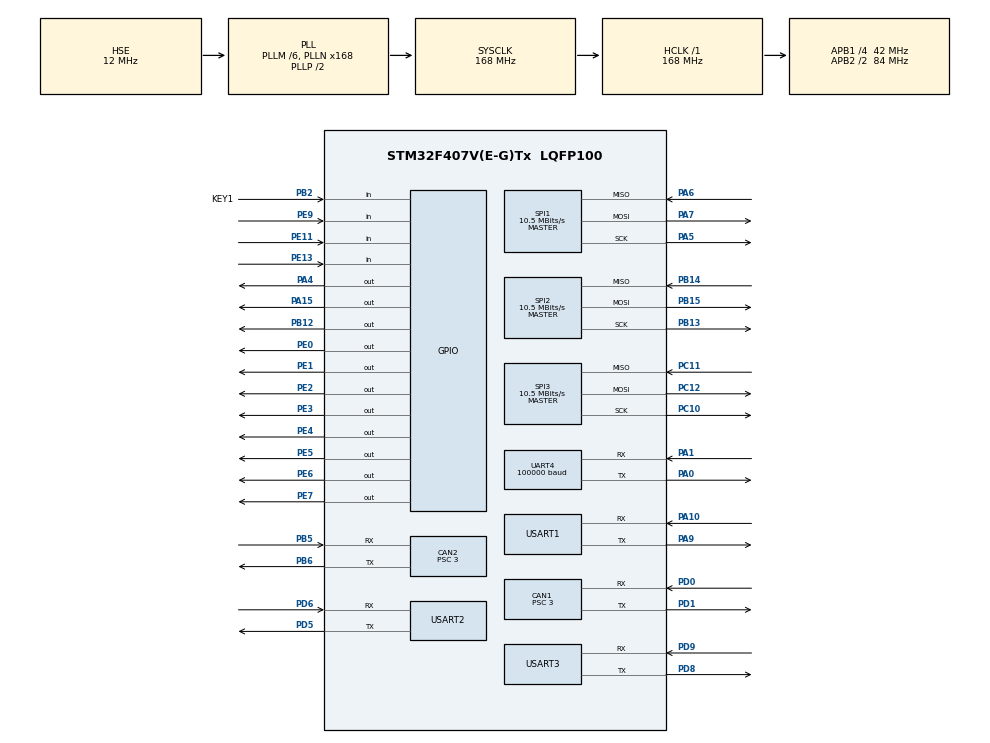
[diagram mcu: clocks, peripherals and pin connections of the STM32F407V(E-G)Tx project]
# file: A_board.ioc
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CAN1.BS1=CAN_BS1_9TQ
CAN1.BS2=CAN_BS2_4TQ
CAN1.CalculateBaudRate=1000000
CAN1.CalculateTimeBit=1000
CAN1.CalculateTimeQuantum=71.42857142857143
CAN1.Prescaler=3
CAN2.BS1=CAN_BS1_9TQ
CAN2.BS2=CAN_BS2_4TQ
CAN2.CalculateBaudRate=1000000
CAN2.CalculateTimeBit=1000
CAN2.CalculateTimeQuantum=71.42857142857143
CAN2.Prescaler=3
Dma.Request0=UART4_RX
Dma.Request1=USART1_RX
Dma.Request2=USART2_RX
Dma.Request3=USART3_TX
Dma.UART4_RX.0.Direction=DMA_PERIPH_TO_MEMORY
Dma.UART4_RX.0.FIFOMode=DMA_FIFOMODE_DISABLE
Dma.UART4_RX.0.Instance=DMA1_Stream2
Dma.UART4_RX.0.MemDataAlignment=DMA_MDATAALIGN_BYTE
Dma.UART4_RX.0.MemInc=DMA_MINC_ENABLE
Dma.UART4_RX.0.Mode=DMA_CIRCULAR
Dma.UART4_RX.0.PeriphDataAlignment=DMA_PDATAALIGN_BYTE
Dma.UART4_RX.0.PeriphInc=DMA_PINC_DISABLE
Dma.UART4_RX.0.Priority=DMA_PRIORITY_MEDIUM
Dma.USART1_RX.1.Direction=DMA_PERIPH_TO_MEMORY
Dma.USART1_RX.1.FIFOMode=DMA_FIFOMODE_DISABLE
Dma.USART1_RX.1.Instance=DMA2_Stream2
Dma.USART1_RX.1.MemDataAlignment=DMA_MDATAALIGN_BYTE
Dma.USART1_RX.1.MemInc=DMA_MINC_ENABLE
Dma.USART1_RX.1.Mode=DMA_CIRCULAR
Dma.USART1_RX.1.PeriphDataAlignment=DMA_PDATAALIGN_BYTE
Dma.USART1_RX.1.PeriphInc=DMA_PINC_DISABLE
Dma.USART1_RX.1.Priority=DMA_PRIORITY_MEDIUM
Dma.USART2_RX.2.Direction=DMA_PERIPH_TO_MEMORY
Dma.USART2_RX.2.FIFOMode=DMA_FIFOMODE_DISABLE
Dma.USART2_RX.2.Instance=DMA1_Stream5
Dma.USART2_RX.2.MemDataAlignment=DMA_MDATAALIGN_BYTE
Dma.USART2_RX.2.MemInc=DMA_MINC_ENABLE
Dma.USART2_RX.2.Mode=DMA_CIRCULAR
Dma.USART2_RX.2.PeriphDataAlignment=DMA_PDATAALIGN_BYTE
Dma.USART2_RX.2.PeriphInc=DMA_PINC_DISABLE
Dma.USART2_RX.2.Priority=DMA_PRIORITY_MEDIUM
Dma.USART3_TX.3.Direction=DMA_MEMORY_TO_PERIPH
Dma.USART3_TX.3.FIFOMode=DMA_FIFOMODE_DISABLE
Dma.USART3_TX.3.Instance=DMA1_Stream3
Dma.USART3_TX.3.MemDataAlignment=DMA_MDATAALIGN_BYTE
Dma.USART3_TX.3.MemInc=DMA_MINC_ENABLE
Dma.USART3_TX.3.Mode=DMA_NORMAL
Dma.USART3_TX.3.PeriphDataAlignment=DMA_PDATAALIGN_BYTE
Dma.USART3_TX.3.PeriphInc=DMA_PINC_DISABLE
Dma.USART3_TX.3.Priority=DMA_PRIORITY_MEDIUM
FREERTOS.INCLUDE_vTaskDelayUntil=1
FREERTOS.Tasks01=defaultTask,0,128,StartDefaultTask,Default,NULL,Dynamic,NULL,NULL
FREERTOS.configENABLE_FPU=1
FREERTOS.configTOTAL_HEAP_SIZE=20000
Mcu.Family=STM32F4
Mcu.Name=STM32F407V(E-G)Tx
Mcu.Package=LQFP100
NVIC.CAN1_RX0_IRQn=true\:5\:0\:false\:false\:true\:true\:true\:true\:true
NVIC.CAN2_RX1_IRQn=true\:5\:0\:false\:false\:true\:true\:true\:true\:true
NVIC.DMA1_Stream2_IRQn=true\:5\:0\:false\:false\:true\:true\:false\:true\:true
NVIC.DMA1_Stream3_IRQn=true\:5\:0\:false\:false\:true\:true\:false\:true\:true
NVIC.DMA1_Stream5_IRQn=true\:5\:0\:false\:false\:true\:true\:false\:true\:true
NVIC.DMA2_Stream2_IRQn=true\:5\:0\:false\:false\:true\:true\:false\:true\:true
NVIC.PriorityGroup=NVIC_PRIORITYGROUP_4
NVIC.TIM8_TRG_COM_TIM14_IRQn=true\:15\:0\:false\:false\:true\:false\:false\:true\:true
NVIC.TimeBase=TIM8_TRG_COM_TIM14_IRQn
NVIC.TimeBaseIP=TIM14
NVIC.USART2_IRQn=true\:5\:0\:false\:false\:true\:true\:true\:true\:true
PA0-WKUP.Mode=Asynchronous
PA0-WKUP.Signal=UART4_TX
PA1.Mode=Asynchronous
PA1.Signal=UART4_RX
PA10.Mode=Asynchronous
PA10.Signal=USART1_RX
PA13.Mode=Serial_Wire
PA13.Signal=SYS_JTMS-SWDIO
PA14.Mode=Serial_Wire
PA14.Signal=SYS_JTCK-SWCLK
PA15.Signal=GPIO_Output
PA4.Signal=GPIO_Output
PA5.Mode=Full_Duplex_Master
PA5.Signal=SPI1_SCK
PA6.Mode=Full_Duplex_Master
PA6.Signal=SPI1_MISO
PA7.Mode=Full_Duplex_Master
PA7.Signal=SPI1_MOSI
PA9.Mode=Asynchronous
PA9.Signal=USART1_TX
PB12.Signal=GPIO_Output
PB13.Mode=Full_Duplex_Master
PB13.Signal=SPI2_SCK
PB14.Mode=Full_Duplex_Master
PB14.Signal=SPI2_MISO
PB15.Mode=Full_Duplex_Master
PB15.Signal=SPI2_MOSI
PB2.GPIO_Label=KEY1
PB2.GPIO_PuPd=GPIO_PULLDOWN
PB2.Signal=GPIO_Input
PB5.Mode=CAN_Activate
PB5.Signal=CAN2_RX
PB6.Mode=CAN_Activate
PB6.Signal=CAN2_TX
PC10.Mode=Full_Duplex_Master
PC10.Signal=SPI3_SCK
PC11.Mode=Full_Duplex_Master
PC11.Signal=SPI3_MISO
PC12.Mode=Full_Duplex_Master
PC12.Signal=SPI3_MOSI
PD0.Mode=CAN_Activate
PD0.Signal=CAN1_RX
PD1.Mode=CAN_Activate
PD1.Signal=CAN1_TX
PD5.Mode=Asynchronous
PD5.Signal=USART2_TX
PD6.Mode=Asynchronous
PD6.Signal=USART2_RX
PD8.Mode=Asynchronous
PD8.Signal=USART3_TX
PD9.Mode=Asynchronous
PD9.Signal=USART3_RX
PE0.GPIO_ModeDefaultOutputPP=GPIO_MODE_OUTPUT_OD
PE0.GPIO_PuPd=GPIO_NOPULL
PE0.GPIO_Speed=GPIO_SPEED_FREQ_LOW
PE0.PinState=GPIO_PIN_RESET
PE0.Signal=GPIO_Output
PE1.GPIO_ModeDefaultOutputPP=GPIO_MODE_OUTPUT_OD
PE1.GPIO_PuPd=GPIO_NOPULL
PE1.GPIO_Speed=GPIO_SPEED_FREQ_LOW
PE1.PinState=GPIO_PIN_RESET
PE1.Signal=GPIO_Output
PE11.GPIO_PuPd=GPIO_NOPULL
PE11.Signal=GPIO_Input
PE13.GPIO_PuPd=GPIO_NOPULL
PE13.Signal=GPIO_Input
PE2.GPIO_ModeDefaultOutputPP=GPIO_MODE_OUTPUT_OD
PE2.GPIO_PuPd=GPIO_NOPULL
PE2.GPIO_Speed=GPIO_SPEED_FREQ_LOW
PE2.PinState=GPIO_PIN_RESET
PE2.Signal=GPIO_Output
PE3.GPIO_ModeDefaultOutputPP=GPIO_MODE_OUTPUT_OD
PE3.GPIO_PuPd=GPIO_NOPULL
PE3.GPIO_Speed=GPIO_SPEED_FREQ_LOW
PE3.PinState=GPIO_PIN_RESET
PE3.Signal=GPIO_Output
PE4.GPIO_ModeDefaultOutputPP=GPIO_MODE_OUTPUT_OD
PE4.GPIO_PuPd=GPIO_NOPULL
PE4.GPIO_Speed=GPIO_SPEED_FREQ_LOW
PE4.PinState=GPIO_PIN_RESET
PE4.Signal=GPIO_Output
PE5.GPIO_ModeDefaultOutputPP=GPIO_MODE_OUTPUT_OD
PE5.GPIO_PuPd=GPIO_NOPULL
PE5.GPIO_Speed=GPIO_SPEED_FREQ_LOW
PE5.PinState=GPIO_PIN_RESET
PE5.Signal=GPIO_Output
PE6.GPIO_ModeDefaultOutputPP=GPIO_MODE_OUTPUT_OD
PE6.GPIO_PuPd=GPIO_NOPULL
PE6.GPIO_Speed=GPIO_SPEED_FREQ_LOW
PE6.PinState=GPIO_PIN_RESET
PE6.Signal=GPIO_Output
PE7.GPIO_ModeDefaultOutputPP=GPIO_MODE_OUTPUT_OD
PE7.GPIO_PuPd=GPIO_NOPULL
PE7.GPIO_Speed=GPIO_SPEED_FREQ_LOW
PE7.PinState=GPIO_PIN_RESET
PE7.Signal=GPIO_Output
PE9.GPIO_PuPd=GPIO_NOPULL
PE9.Signal=GPIO_Input
PH0-OSC_IN.Mode=HSE-External-Oscillator
PH0-OSC_IN.Signal=RCC_OSC_IN
PH1-OSC_OUT.Mode=HSE-External-Oscillator
PH1-OSC_OUT.Signal=RCC_OSC_OUT
ProjectManager.HeapSize=0x200
ProjectManager.StackSize=0x400
ProjectManager.TargetToolchain=MDK-ARM V5.32
RCC.48MHZClocksFreq_Value=84000000
RCC.AHBFreq_Value=168000000
RCC.APB1CLKDivider=RCC_HCLK_DIV4
RCC.APB1Freq_Value=42000000
RCC.APB1TimFreq_Value=84000000
RCC.APB2CLKDivider=RCC_HCLK_DIV2
RCC.APB2Freq_Value=84000000
RCC.APB2TimFreq_Value=168000000
RCC.CortexFreq_Value=168000000
RCC.HCLKFreq_Value=168000000
RCC.HSE_VALUE=12000000
RCC.HSI_VALUE=16000000
RCC.LSE_VALUE=32768
RCC.PLLM=6
RCC.PLLN=168
RCC.PLLSourceVirtual=RCC_PLLSOURCE_HSE
RCC.SYSCLKFreq_VALUE=168000000
RCC.SYSCLKSource=RCC_SYSCLKSOURCE_PLLCLK
RCC.VCOOutputFreq_Value=336000000
SPI1.BaudRatePrescaler=SPI_BAUDRATEPRESCALER_8
SPI1.CalculateBaudRate=10.5 MBits/s
SPI1.Direction=SPI_DIRECTION_2LINES
SPI1.Mode=SPI_MODE_MASTER
SPI1.VirtualType=VM_MASTER
SPI2.BaudRatePrescaler=SPI_BAUDRATEPRESCALER_4
SPI2.CalculateBaudRate=10.5 MBits/s
SPI2.Direction=SPI_DIRECTION_2LINES
SPI2.Mode=SPI_MODE_MASTER
SPI2.VirtualType=VM_MASTER
SPI3.BaudRatePrescaler=SPI_BAUDRATEPRESCALER_4
SPI3.CalculateBaudRate=10.5 MBits/s
SPI3.Direction=SPI_DIRECTION_2LINES
SPI3.Mode=SPI_MODE_MASTER
SPI3.VirtualType=VM_MASTER
TIM1.Prescaler=168 - 1
UART4.BaudRate=100000
UART4.Parity=PARITY_EVEN
UART4.StopBits=UART_STOPBITS_2
UART4.VirtualMode=Asynchronous
UART4.WordLength=WORDLENGTH_9B
USART1.VirtualMode=VM_ASYNC
USART2.VirtualMode=VM_ASYNC
USART3.VirtualMode=VM_ASYNC
VP_FREERTOS_VS_CMSIS_V1.Mode=CMSIS_V1
VP_SYS_VS_tim14.Mode=TIM14
VP_TIM1_VS_ClockSourceINT.Mode=Internal
board=custom

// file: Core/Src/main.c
/* USER CODE BEGIN Header */
/**
 ******************************************************************************
 * @file           : main.c
 * @brief          : Main program body
 ******************************************************************************
 * @attention
 *
 * Copyright (c) 2025 STMicroelectronics.
 * All rights reserved.
 *
 * This software is licensed under terms that can be found in the LICENSE file
 * in the root directory of this software component.
 * If no LICENSE file comes with this software, it is provided AS-IS.
 *
 ******************************************************************************
 */
/* USER CODE END Header */
#include "main.h"
#include "cmsis_os.h"
#include "can.h"
#include "dma.h"
#include "spi.h"
#include "tim.h"
#include "usart.h"
#include "gpio.h"

/* USER CODE BEGIN Includes */
#include "sbus_set.h"
#include "bsp_can.h"
#include "CAN_receive.h"
#include "mcp2515.h"
#include "chassis.h"
#include "uart_task.h"
#include "solenoid_valves.h"
#include "arm.h"

/* ⚠️ Removed (2026-06-06 mechanical redesign):
   four_steering_wheel_ik.c/h — old 4 steering wheel kinematics
   upstairs.c/h — old YUN motor lifting
   arm.c/h — old single arm (now dual-arm, left+right)
   solenoid_valves.c/h — old 10-way solenoid valves */
/* ✅ New: chassis.c/h — omni wheel kinematics + independent lift control */
/* USER CODE END Includes */

/* USER CODE BEGIN PD */
/* 夹爪翻转电机速度 (rad/s) — 模式区分 */
#define GRIPPER_FLIP_VEL_SLOW  0.5f   // 遥控器手动慢速
#define GRIPPER_FLIP_VEL_FAST  2.0f   // 串口自动快速
/* USER CODE END PD */

/* USER CODE BEGIN PV */
uint16_t led_buf = 0x0001;

/* Chassis velocity setpoints */
float set_vx = 0.0f;
float set_vy = 0.0f;
float set_vw = 0.0f;

/* SBUS health monitoring */
#define SBUS_TIMEOUT_MS 100
static uint32_t last_sbus_tick = 0;

/* System enable state (centralized CH4 edge detection) */
bool sys_enabled = false;
static bool last_ch4 = false;

/* 夹爪翻转电机 (hcan3 MCP2515, POS 模式, ID 0x01) */
static motor_t gripper_flip_motor;

/* Gripper flip motor position: 0=竖起来, 1.57=翻下去 */
float gripper_flip_pos = 0.0f;
bool gripper_flip_ready = false;   // 首次CH7操作后置true, 防止上电夹人
/* USER CODE END PV */

void SystemClock_Config(void);
void MX_FREERTOS_Init(void);

/* USER CODE BEGIN 0 */

/* ====================== Helpers ====================== */

static inline bool sbus_frame_valid(void)
{
	return (sbus_rx_buf[23] == 0x00 && sbus_rx_buf[0] == 0x0f && sbus_rx_buf[24] == 0x00);
}

static inline bool sbus_connected(void)
{
	return (xTaskGetTickCount() - last_sbus_tick) < pdMS_TO_TICKS(SBUS_TIMEOUT_MS);
}

bool ch_high(int ch)
{
	return sbus_ch.ch[ch] > 1700;
}

/**
 * Centralized CH4 edge detection with SBUS disconnection protection.
 * Call once per SBUS frame cycle.
 */
static void system_enable_handler(void)
{
	bool ch4 = sbus_connected() && sbus_frame_valid() && ch_high(4);

	if (ch4 && !last_ch4)
	{
		/* CH4 rising edge: enable all subsystems */
		sys_enabled = true;
		chassis_enable(&hcan1);               // CAN1: 全向轮×4 + 抬升×4
		arm_left_enable(&hcan2);                // CAN2: 左臂 ID 1-3
		arm_right_enable(&hcan2);               // CAN2: 右臂 ID 4-6
		dm_enable_mcp2515(&hcan3, &gripper_flip_motor);   // hcan3: 夹爪翻转电机
	}
	else if (!ch4 && last_ch4)
	{
		/* CH4 falling edge: disable all subsystems & safe stop */
		sys_enabled = false;
		chassis_disable(&hcan1);              // CAN1: 全向轮×4 + 抬升×4
		arm_left_disable(&hcan2);               // CAN2: 左臂 ID 1-3
		arm_right_disable(&hcan2);              // CAN2: 右臂 ID 4-6
		dm_disable_mcp2515(&hcan3, &gripper_flip_motor);  // hcan3: 夹爪翻转电机
		set_vx = 0;
		set_vy = 0;
		set_vw = 0;
	}

	last_ch4 = ch4;
}

void led_task(void *parameter)
{
	while (1)
	{
		HAL_GPIO_TogglePin(GPIOE, led_buf);

		if (led_buf < 0x0100)
		{
			led_buf <<= 1;
		}
		else
		{
			led_buf = 0x0001;
		}

		vTaskDelay(200);
	}
}

void sbus_task(void *parameter)
{
	static bool ch5_was_high = false;

	while (1)
	{
		rx_set(&sbus_ch);

		/* Update SBUS health timestamp on valid frame */
		if (sbus_frame_valid())
			last_sbus_tick = xTaskGetTickCount();

		/* Update system enable state from CH4 */
		system_enable_handler();

		/* Manual mode: map remote channels to velocities */
		if (sys_enabled && !ch_high(5) && !ch_high(6))
		{
			int16_t ch_val;

			ch_val = sbus_ch.ch[2];
			set_vx = (ch_val >= 1017 && ch_val <= 1030) ? 0 : Map(ch_val, 256, 1800, -1000, 1000);

			ch_val = sbus_ch.ch[3];
			set_vy = (ch_val >= 1017 && ch_val <= 1030) ? 0 : Map(ch_val, 240, 1780, -1000, 1000);

			ch_val = sbus_ch.ch[0];
			set_vw = (ch_val >= 1020 && ch_val <= 1028) ? 0 : Map(ch_val, 268, 1783, -2000, 2000);

			/* TODO: CH8/CH9 gripper control (old YV3/YV4/YV5 removed) */
		}

		/* CH6 + CH7 组合控制:
		   CH6低档(240)  + CH7沿 → 翻转电机 0↔1.57
		   CH6中档(1024) + CH7沿 → 夹爪气缸 YV1 开↔关 */
			{
				static bool last_ch7_state = false;
				int16_t ch6_val = sbus_ch.ch[6];
				bool ch7_now = sbus_ch.ch[7] > 1700;

				if (ch7_now != last_ch7_state)
				{
					if (ch6_val < 632)              // CH6 低档 ~240: 翻转电机
					{
						gripper_flip_pos   = (gripper_flip_pos < 0.5f) ? 1.57f : 0.0f;
						gripper_flip_ready = true;
					}
					else if (ch6_val < 1415)        // CH6 中档 ~1024: 夹爪气缸
					{
						YV1(2);                     // 翻转 YV1 (1→0, 0→1)
					}
				}
				last_ch7_state = ch7_now;
			}

		/* CH5 falling edge: notify upper computer on mode switch */
		if (sbus_frame_valid() && ch_high(4))
		{
			bool ch5_high = ch_high(5);
			if (!ch5_was_high && ch5_high)  // rising edge: manual→auto
			{
				uart_tx_ch5_notify();
			}
			ch5_was_high = ch5_high;
		}

		/* Safe defaults when disabled */
		if (!sys_enabled)
		{
			set_vx = 0;
			set_vy = 0;
			set_vw = 0;
		}

		vTaskDelay(10);
	}
}

void up_cs_task(void *parameter)
{
	while (1)
	{
		if (sys_enabled)
		{
			float lift_vel;     // 抬升速度, 由 lift_mode 控制
			float flip_vel;     // 夹爪翻转速度, 手动慢/自动快

			if (!ch_high(5))
			{
				/* Manual: CH8→前抬升, CH9→后抬升 (mm) */
				int16_t ch8 = sbus_ch.ch[8];
				int16_t ch9 = sbus_ch.ch[9];
				float front_mm = (ch8 >= 1021 && ch8 <= 1027)
								? 0.0f
								: Map(ch8, 240, 1800, 0.0f, 417.0f);
				float rear_mm  = (ch9 >= 1021 && ch9 <= 1027)
								? 0.0f
								: Map(ch9, 240, 1800, 0.0f, 417.0f);
				lift_set(0, front_mm);  // FR
				lift_set(1, front_mm);  // FL
				lift_set(2, rear_mm);   // BL
				lift_set(3, rear_mm);   // BR
				lift_front_actual = (uint16_t)front_mm;
				lift_back_actual  = (uint16_t)rear_mm;
				lift_vel = LIFT_VEL_SLOW;             // 手动模式慢速抬升
				flip_vel = GRIPPER_FLIP_VEL_SLOW;     // 手动模式慢速翻转
			}
			else
			{
				/* Auto: 串口协议控制, 前后分组 */
				lift_set(0, (float)lift_front_target);  // FR
				lift_set(1, (float)lift_front_target);  // FL
				lift_set(2, (float)lift_back_target);   // BL
				lift_set(3, (float)lift_back_target);   // BR
				lift_front_actual = lift_front_target;
				lift_back_actual  = lift_back_target;
				lift_vel = (lift_mode == 1) ? LIFT_VEL_FAST : LIFT_VEL_SLOW;
				flip_vel = GRIPPER_FLIP_VEL_FAST;       // 自动模式快速翻转

				/* 武器头控制: weapon_pitch→翻转电机, weapon_gripper→夹爪气缸 */
				if (weapon_pitch == 1)      // 平行地面 → 翻下
				{
					gripper_flip_pos = 1.57f;
					gripper_flip_ready = true;
				}
				else if (weapon_pitch == 2) // 垂直地面 → 竖起
				{
					gripper_flip_pos = 0.0f;
					gripper_flip_ready = true;
				}
				// weapon_pitch=0 保持, 不更新

				if (weapon_gripper == 1)      { YV1(1); }  // 打开夹爪
				else if (weapon_gripper == 2) { YV1(0); }  // 闭合夹爪
				// weapon_gripper=0 保持, 不更新

				/* 左吸盘 YV2: 0=保持 1=吸气(YV2开) 2=松开(YV2关) */
				if (left_sucker == 1)      { YV2(1); }
				else if (left_sucker == 2) { YV2(0); }

				/* 右吸盘 YV3: 0=保持 1=吸气(YV3开) 2=松开(YV3关) */
				if (right_sucker == 1)      { YV3(1); }
				else if (right_sucker == 2) { YV3(0); }
			}

			/* CAN1 抬升电机位置控制 */
			lift_update(&hcan1, lift_vel);

			/* 夹爪翻转电机 — 上电不动作, CH7首次操作后才开始控制 */
			if (gripper_flip_ready)
				dm_pos_ctrl_mcp2515(&hcan3, 0x01, gripper_flip_pos, flip_vel);
			YV_flash_mcp2515(&hcan3);   // 电磁阀状态刷新 (每周期)
		}

		vTaskDelay(50);
	}
}

void arm_task(void *parameter)
{
	/*
	 * 左右双机械臂控制 (CAN2, DM4340 位置模式):
	 *   手动模式: 双机械臂回原点
	 *   自动模式: 左臂串口 left_pitch1~3 (ID2方向已适配取反)
	 *             右臂保持原点 (暂不接入串口)
	 */
	while (1)
	{
		float vel;
		if (sys_enabled)
		{
			if (!ch_high(5))
			{
				/* 手动模式: 双机械臂回原点 */
				vel = ARM_VEL_SLOW;
				arm_left_set(&hcan2,  ARM_L_ORIGIN_P1, ARM_L_ORIGIN_P2, ARM_L_ORIGIN_P3, vel);
				arm_right_set(&hcan2, ARM_R_ORIGIN_P1, ARM_R_ORIGIN_P2, ARM_R_ORIGIN_P3, vel);
			}
			else
			{
				/* 自动模式: 双机械臂走串口 (ID2/4/6方向已适配) */
				vel = (lift_mode == 1) ? ARM_VEL_FAST : ARM_VEL_SLOW;
				arm_left_update(&hcan2, vel);
				arm_right_update(&hcan2, vel);
			}
		}

		vTaskDelay(10);
	}
}

void chassis_task(void *parameter)
{
	while (1)
	{
		if (sys_enabled)
		{
			chassis_update(&hcan1);   // 全向轮运动学 + CAN1 MIT 驱动
		}
		else
		{
			vTaskDelay(2);
		}
	}
}

void start_task(void *parameter)
{
	while (1)
	{
		sbus_rx_init();
		can_filter_init();
		uart_rx_init();
		chassis_init(&hcan1);
		arm_init();    // 注册 6 个 DM_4340 机械臂电机
		dm_init(&gripper_flip_motor, 0x01, DM_MODE_POS, DM_4310);  // 夹爪翻转

		mcp2515_sys_init(&hcan3, &hspi1, GPIOA, GPIO_PIN_4);//电磁阀和翻转电机

			/* prio: chassis(3) > sbus(2) > arm/up_cs(1) > uart/led(0) */
			xTaskCreate(led_task,     "led_task",      56, NULL, 2, NULL);
			xTaskCreate(sbus_task,    "remote_task",  256, NULL, 1, NULL);
			xTaskCreate(uart_task,    "uart_task",    1024, NULL, 0, NULL);
			xTaskCreate(chassis_task, "chassis_task", 512, NULL, 0, NULL);
			xTaskCreate(up_cs_task,   "up_cs_task",   512, NULL, 0, NULL);
			xTaskCreate(arm_task,     "arm_task",     512, NULL, 0, NULL);

		vTaskDelete(NULL);
	}
}
/* USER CODE END 0 */

int main(void)
{

  /* MCU Configuration--------------------------------------------------------*/

  /* Reset of all peripherals, Initializes the Flash interface and the Systick. */
  HAL_Init();

  /* Configure the system clock */
  SystemClock_Config();

  /* Initialize all configured peripherals */
  MX_GPIO_Init();
  MX_DMA_Init();
  MX_CAN1_Init();
  MX_CAN2_Init();
  MX_SPI1_Init();
  MX_SPI2_Init();
  MX_SPI3_Init();
  MX_UART4_Init();
  MX_USART1_UART_Init();
  MX_USART2_UART_Init();
  MX_TIM1_Init();
  MX_USART3_UART_Init();
  /* USER CODE BEGIN 2 */
	if (xTaskCreate(start_task, "start_task", 256, NULL, 0, NULL) != pdPASS)
	{
		while (1)
			;
	}

  /* USER CODE END 2 */

  /* Call init function for freertos objects (in cmsis_os2.c) */
  MX_FREERTOS_Init();

  /* Start scheduler */
  osKernelStart();

  /* We should never get here as control is now taken by the scheduler */

  /* Infinite loop */
	while (1)
	{

	}
}

void SystemClock_Config(void)
{
  RCC_OscInitTypeDef RCC_OscInitStruct = {0};
  RCC_ClkInitTypeDef RCC_ClkInitStruct = {0};

  /** Configure the main internal regulator output voltage
  */
  __HAL_RCC_PWR_CLK_ENABLE();
  __HAL_PWR_VOLTAGESCALING_CONFIG(PWR_REGULATOR_VOLTAGE_SCALE1);

  /** Initializes the RCC Oscillators according to the specified parameters
  * in the RCC_OscInitTypeDef structure.
  */
  RCC_OscInitStruct.OscillatorType = RCC_OSCILLATORTYPE_HSE;
  RCC_OscInitStruct.HSEState = RCC_HSE_ON;
  RCC_OscInitStruct.PLL.PLLState = RCC_PLL_ON;
  RCC_OscInitStruct.PLL.PLLSource = RCC_PLLSOURCE_HSE;
  RCC_OscInitStruct.PLL.PLLM = 6;
  RCC_OscInitStruct.PLL.PLLN = 168;
  RCC_OscInitStruct.PLL.PLLP = RCC_PLLP_DIV2;
  RCC_OscInitStruct.PLL.PLLQ = 4;
  if (HAL_RCC_OscConfig(&RCC_OscInitStruct) != HAL_OK)
  {
    Error_Handler();
  }

  /** Initializes the CPU, AHB and APB buses clocks
  */
  RCC_ClkInitStruct.ClockType = RCC_CLOCKTYPE_HCLK|RCC_CLOCKTYPE_SYSCLK
                              |RCC_CLOCKTYPE_PCLK1|RCC_CLOCKTYPE_PCLK2;
  RCC_ClkInitStruct.SYSCLKSource = RCC_SYSCLKSOURCE_PLLCLK;
  RCC_ClkInitStruct.AHBCLKDivider = RCC_SYSCLK_DIV1;
  RCC_ClkInitStruct.APB1CLKDivider = RCC_HCLK_DIV4;
  RCC_ClkInitStruct.APB2CLKDivider = RCC_HCLK_DIV2;

  if (HAL_RCC_ClockConfig(&RCC_ClkInitStruct, FLASH_LATENCY_5) != HAL_OK)
  {
    Error_Handler();
  }
}

/* USER CODE BEGIN 4 */
/* (HAL_UART_RxCpltCallback moved to Lib/uart_task.c) */
/* USER CODE END 4 */

void HAL_TIM_PeriodElapsedCallback(TIM_HandleTypeDef *htim)
{
  if (htim->Instance == TIM14)
  {
    HAL_IncTick();
  }
}

void Error_Handler(void)
{
	__disable_irq();
	while (1)
	{
	}
}
